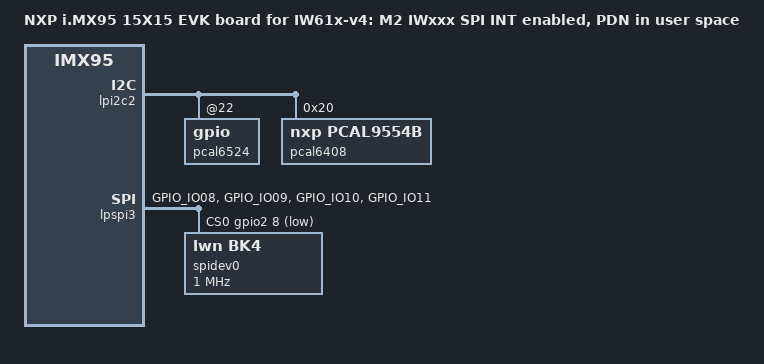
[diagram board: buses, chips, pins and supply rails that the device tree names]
// SPDX-License-Identifier: (GPL-2.0+ OR MIT)
/*
 * Copyright 2024 NXP
 */

#include "imx95-15x15-evk.dts"

/ {
	// Patch for IW61x:
	// v1: ffu_gpio_irq (make GPIO_SPI_INT interruptible)
	// v2: make gpio IW61x_PD_N, M2 Murata_SPI_ENABLE, IW61x_IND_RST_15_4 drivable from userspace
	// v3: make gpio IW61x_PD_N, IW61x_IND_RST_15_4 drivable from userspace
	// v4: gpio naming and options description in model
	model = "NXP i.MX95 15X15 EVK board for IW61x-v4: M2 IWxxx SPI INT enabled, PDN in user space";
};

&lpuart7 {
	status = "disabled";
};

&lpi2c2 {
	pcal6524: gpio@22 {
        gpio-line-names = "", "", "", "", "", "", "", "", "", "", "", "IWxxx_PD_N";
	};

	pcal6408: gpio@20 {
		compatible = "nxp,pcal9554b";
		reg = <0x20>;
		gpio-controller;
		#gpio-cells = <2>;
		status = "okay";
        gpio-line-names = "IWxxx_NB_SPI_ENA", "IWxxx_NB_IND_RST_15_4";
	};
};

/* lpspi3 work as a master bus */
&lpspi3 {
	fsl,spi-num-chipselects = <1>;
	pinctrl-names = "default";
	pinctrl-0 = <&pinctrl_lpspi3>;
	cs-gpios = <&gpio2 8 GPIO_ACTIVE_LOW>;
	pinctrl-assert-gpios = <&pcal6408 0 GPIO_ACTIVE_HIGH>;
	status = "okay";

	spidev0: spi@0 {
		reg = <0>;
		compatible = "lwn,bk4";
		spi-max-frequency = <1000000>;
	};
};

&scmi_iomuxc {
	pinctrl_lpspi3: lpspi3grp {
		fsl,pins = <
			IMX95_PAD_GPIO_IO08__GPIO2_IO_BIT8	0x3fe
			IMX95_PAD_GPIO_IO09__LPSPI3_SIN		0x3fe
			IMX95_PAD_GPIO_IO10__LPSPI3_SOUT	0x3fe
			IMX95_PAD_GPIO_IO11__LPSPI3_SCK		0x3fe
		>;
	};
};

